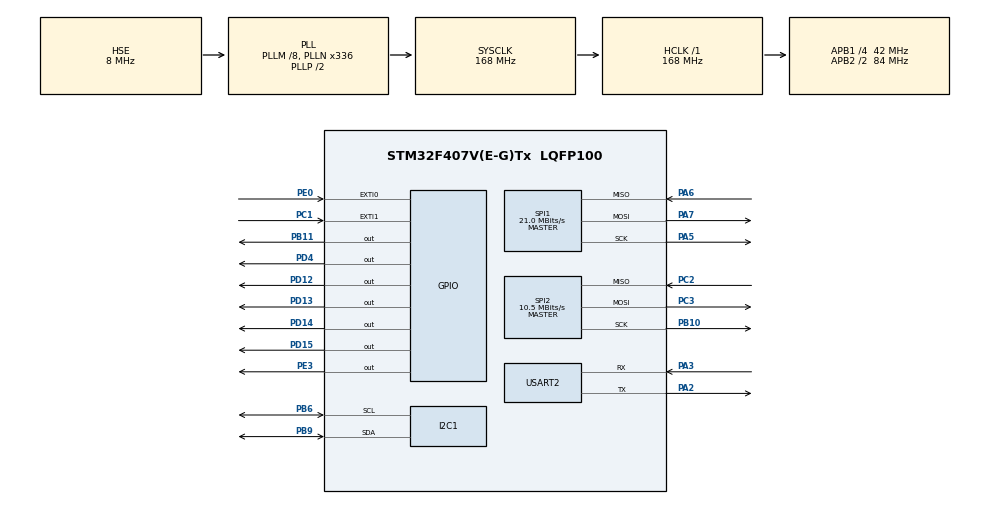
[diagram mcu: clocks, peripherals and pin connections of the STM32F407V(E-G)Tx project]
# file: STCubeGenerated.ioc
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Mcu.Family=STM32F4
Mcu.Name=STM32F407V(E-G)Tx
Mcu.Package=LQFP100
NVIC.EXTI0_IRQn=true\:0\:0\:false\:false\:true\:true
NVIC.EXTI1_IRQn=true\:0\:0\:false\:false\:true\:true
NVIC.PriorityGroup=NVIC_PRIORITYGROUP_4
PA2.Mode=Asynchronous
PA2.Signal=USART2_TX
PA3.Mode=Asynchronous
PA3.Signal=USART2_RX
PA5.Mode=Full_Duplex_Master
PA5.Signal=SPI1_SCK
PA6.Mode=Full_Duplex_Master
PA6.Signal=SPI1_MISO
PA7.Mode=Full_Duplex_Master
PA7.Signal=SPI1_MOSI
PB10.Mode=Full_Duplex_Master
PB10.Signal=SPI2_SCK
PB11.Signal=GPIO_Output
PB6.Mode=I2C
PB6.Signal=I2C1_SCL
PB9.Mode=I2C
PB9.Signal=I2C1_SDA
PC1.GPIO_ModeDefaultEXTI=GPIO_MODE_IT_RISING
PC1.GPIO_PuPd=GPIO_NOPULL
PC1.Signal=GPXTI1
PC2.Mode=Full_Duplex_Master
PC2.Signal=SPI2_MISO
PC3.Mode=Full_Duplex_Master
PC3.Signal=SPI2_MOSI
PD12.Signal=GPIO_Output
PD13.Signal=GPIO_Output
PD14.Signal=GPIO_Output
PD15.Signal=GPIO_Output
PD4.Signal=GPIO_Output
PE0.GPIO_ModeDefaultEXTI=GPIO_MODE_IT_FALLING
PE0.GPIO_PuPd=GPIO_PULLUP
PE0.Signal=GPXTI0
PE3.Signal=GPIO_Output
PH0-OSC_IN.Mode=HSE-External-Oscillator
PH0-OSC_IN.Signal=RCC_OSC_IN
PH1-OSC_OUT.Mode=HSE-External-Oscillator
PH1-OSC_OUT.Signal=RCC_OSC_OUT
ProjectManager.HeapSize=0x4000
ProjectManager.StackSize=0x1000
ProjectManager.TargetToolchain=MDK-ARM V5
RCC.48MHZClocksFreq_Value=48000000
RCC.AHBFreq_Value=168000000
RCC.APB1CLKDivider=RCC_HCLK_DIV4
RCC.APB1Freq_Value=42000000
RCC.APB1TimFreq_Value=84000000
RCC.APB2CLKDivider=RCC_HCLK_DIV2
RCC.APB2Freq_Value=84000000
RCC.APB2TimFreq_Value=168000000
RCC.CortexFreq_Value=168000000
RCC.HCLKFreq_Value=168000000
RCC.HSE_VALUE=8000000
RCC.HSI_VALUE=16000000
RCC.LSE_VALUE=32768
RCC.PLLM=8
RCC.PLLN=336
RCC.PLLQ=7
RCC.PLLSourceVirtual=RCC_PLLSOURCE_HSE
RCC.SYSCLKFreq_VALUE=168000000
RCC.SYSCLKSource=RCC_SYSCLKSOURCE_PLLCLK
RCC.VCOOutputFreq_Value=336000000
SPI1.BaudRatePrescaler=SPI_BAUDRATEPRESCALER_4
SPI1.CalculateBaudRate=21.0 MBits/s
SPI1.DataSize=SPI_DATASIZE_8BIT
SPI1.Direction=SPI_DIRECTION_2LINES
SPI1.Mode=SPI_MODE_MASTER
SPI1.VirtualType=VM_MASTER
SPI2.BaudRatePrescaler=SPI_BAUDRATEPRESCALER_4
SPI2.CalculateBaudRate=10.5 MBits/s
SPI2.Direction=SPI_DIRECTION_2LINES
SPI2.FirstBit=SPI_FIRSTBIT_MSB
SPI2.Mode=SPI_MODE_MASTER
SPI2.VirtualType=VM_MASTER
USART2.VirtualMode=VM_ASYNC
board=STCubeGenerated

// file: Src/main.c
/**
  ******************************************************************************
  * File Name          : main.c
  * Description        : Main program body
  ******************************************************************************
  ** This notice applies to any and all portions of this file
  * that are not between comment pairs USER CODE BEGIN and
  * USER CODE END. Other portions of this file, whether
  * inserted by the user or by software development tools
  * are owned by their respective copyright owners.
  *
  * COPYRIGHT(c) 2019 STMicroelectronics
  *
  * Redistribution and use in source and binary forms, with or without modification,
  * are permitted provided that the following conditions are met:
  *   1. Redistributions of source code must retain the above copyright notice,
  *      this list of conditions and the following disclaimer.
  *   2. Redistributions in binary form must reproduce the above copyright notice,
  *      this list of conditions and the following disclaimer in the documentation
  *      and/or other materials provided with the distribution.
  *   3. Neither the name of STMicroelectronics nor the names of its contributors
  *      may be used to endorse or promote products derived from this software
  *      without specific prior written permission.
  *
  * THIS SOFTWARE IS PROVIDED BY THE COPYRIGHT HOLDERS AND CONTRIBUTORS "AS IS"
  * AND ANY EXPRESS OR IMPLIED WARRANTIES, INCLUDING, BUT NOT LIMITED TO, THE
  * IMPLIED WARRANTIES OF MERCHANTABILITY AND FITNESS FOR A PARTICULAR PURPOSE ARE
  * DISCLAIMED. IN NO EVENT SHALL THE COPYRIGHT HOLDER OR CONTRIBUTORS BE LIABLE
  * FOR ANY DIRECT, INDIRECT, INCIDENTAL, SPECIAL, EXEMPLARY, OR CONSEQUENTIAL
  * DAMAGES (INCLUDING, BUT NOT LIMITED TO, PROCUREMENT OF SUBSTITUTE GOODS OR
  * SERVICES; LOSS OF USE, DATA, OR PROFITS; OR BUSINESS INTERRUPTION) HOWEVER
  * CAUSED AND ON ANY THEORY OF LIABILITY, WHETHER IN CONTRACT, STRICT LIABILITY,
  * OR TORT (INCLUDING NEGLIGENCE OR OTHERWISE) ARISING IN ANY WAY OUT OF THE USE
  * OF THIS SOFTWARE, EVEN IF ADVISED OF THE POSSIBILITY OF SUCH DAMAGE.
  *
  ******************************************************************************
  */

#include "main.h"
#include "stm32f4xx_hal.h"

/* USER CODE BEGIN Includes */
#include "cmsis_os.h"
/* USER CODE END Includes */

I2C_HandleTypeDef hi2c1;

SPI_HandleTypeDef hspi1;
SPI_HandleTypeDef hspi2;

UART_HandleTypeDef huart2;

/* USER CODE BEGIN PV */
//#define _DISABLE_PRINTF_
/* Private variables ---------------------------------------------------------*/
#ifndef _DISABLE_PRINTF_
	#ifdef __GNUC__
	  /* With GCC/RAISONANCE, small printf (option LD Linker->Libraries->Small printf
		 set to 'Yes') calls __io_putchar() */
	  #define PUTCHAR_PROTOTYPE int __io_putchar(int ch)
	#else
	  #define PUTCHAR_PROTOTYPE int fputc(int ch, FILE *f)
	#endif /* __GNUC__ */
#else
  #define PUTCHAR_PROTOTYPE int _blank(int ch)
#endif /* _DISABLE_PRINTF_ */
/* USER CODE END PV */

void SystemClock_Config(void);
static void MX_GPIO_Init(void);
static void MX_SPI1_Init(void);
static void MX_I2C1_Init(void);
static void MX_USART2_UART_Init(void);
static void MX_SPI2_Init(void);

/* USER CODE BEGIN 0 */
extern uint32_t os_time;
uint32_t HAL_GetTick(void) {           // Add HAL_GetTick function for STM32Cube HAL
  return os_time;
}

uint8_t	error_flag;

extern void Thread_LIS3DH (void const *arg);
osThreadDef (Thread_LIS3DH, osPriorityNormal, 1, 0);

extern void Thread_ICM40606 (void const *arg);
osThreadDef (Thread_ICM40606, osPriorityNormal, 1, 0);

osThreadId tid1;
osThreadId tid2;
osMessageQDef(MsgBox, 16, uint32_t);
osMessageQId  MsgBox;

//#define PRINT_DATA_RATE
extern uint32_t GetDataCountAndReset(void);
osTimerId id1;
void Timer1_Callback(void const *arg)
{
	if(error_flag) return;
#ifdef PRINT_DATA_RATE
	uint32_t data_rate = GetDataCountAndReset();
	printf("Data rate: %d\n\r", data_rate);
#endif //PRINT_DATA_RATE
}
osTimerDef (Timer1, Timer1_Callback);

extern void SetFifoFlag(void);

 /**
  * @brief  Retargets the C library printf function to the USART.
  * @param  None
  * @retval None
  */
PUTCHAR_PROTOTYPE
{
  /* Place your implementation of fputc here */
  /* e.g. write a character to the EVAL_COM1 and Loop until the end of transmission */
  HAL_UART_Transmit(&huart2, (uint8_t *)&ch, 1, 0xFFFF);

  return ch;
}
/* USER CODE END 0 */

int main(void)
{

  /* USER CODE BEGIN 1 */
  osKernelInitialize ();
  /* USER CODE END 1 */

  /* MCU Configuration----------------------------------------------------------*/

  /* Reset of all peripherals, Initializes the Flash interface and the Systick. */
  HAL_Init();

  /* Configure the system clock */
  SystemClock_Config();

  /* Initialize all configured peripherals */
  MX_GPIO_Init();
  MX_SPI1_Init();
  MX_I2C1_Init();
  MX_USART2_UART_Init();
  MX_SPI2_Init();

  /* USER CODE BEGIN 2 */
  HAL_GPIO_WritePin(GPIOE, GPIO_PIN_3, GPIO_PIN_SET);

  MsgBox = osMessageCreate(osMessageQ(MsgBox), NULL);

  tid1 = osThreadCreate (osThread (Thread_LIS3DH), NULL);
  if (tid1 == NULL)
  {
    // Failed to create the thread with tid1
	_Error_Handler(__FILE__, __LINE__);
  }
//  tid2 = osThreadCreate (osThread (Thread_ICM40606), NULL);
//  if (tid2 == NULL)
//  {
//    // Failed to create the thread with tid2
//	_Error_Handler(__FILE__, __LINE__);
//  }
  id1 = osTimerCreate (osTimer(Timer1), osTimerPeriodic, NULL);
  if (id1 == NULL)
  {
    // Failed to create the Timer1
	_Error_Handler(__FILE__, __LINE__);
  }
  osTimerStart(id1, 1000UL);

  osKernelStart ();
  /* USER CODE END 2 */

  /* Infinite loop */
  while (1)
  {

  }

}

/** System Clock Configuration
*/
void SystemClock_Config(void)
{

  RCC_OscInitTypeDef RCC_OscInitStruct;
  RCC_ClkInitTypeDef RCC_ClkInitStruct;

    /**Configure the main internal regulator output voltage
    */
  __HAL_RCC_PWR_CLK_ENABLE();

  __HAL_PWR_VOLTAGESCALING_CONFIG(PWR_REGULATOR_VOLTAGE_SCALE1);

    /**Initializes the CPU, AHB and APB busses clocks
    */
  RCC_OscInitStruct.OscillatorType = RCC_OSCILLATORTYPE_HSE;
  RCC_OscInitStruct.HSEState = RCC_HSE_ON;
  RCC_OscInitStruct.PLL.PLLState = RCC_PLL_ON;
  RCC_OscInitStruct.PLL.PLLSource = RCC_PLLSOURCE_HSE;
  RCC_OscInitStruct.PLL.PLLM = 8;
  RCC_OscInitStruct.PLL.PLLN = 336;
  RCC_OscInitStruct.PLL.PLLP = RCC_PLLP_DIV2;
  RCC_OscInitStruct.PLL.PLLQ = 7;
  if (HAL_RCC_OscConfig(&RCC_OscInitStruct) != HAL_OK)
  {
    _Error_Handler(__FILE__, __LINE__);
  }

    /**Initializes the CPU, AHB and APB busses clocks
    */
  RCC_ClkInitStruct.ClockType = RCC_CLOCKTYPE_HCLK|RCC_CLOCKTYPE_SYSCLK
                              |RCC_CLOCKTYPE_PCLK1|RCC_CLOCKTYPE_PCLK2;
  RCC_ClkInitStruct.SYSCLKSource = RCC_SYSCLKSOURCE_PLLCLK;
  RCC_ClkInitStruct.AHBCLKDivider = RCC_SYSCLK_DIV1;
  RCC_ClkInitStruct.APB1CLKDivider = RCC_HCLK_DIV4;
  RCC_ClkInitStruct.APB2CLKDivider = RCC_HCLK_DIV2;

  if (HAL_RCC_ClockConfig(&RCC_ClkInitStruct, FLASH_LATENCY_5) != HAL_OK)
  {
    _Error_Handler(__FILE__, __LINE__);
  }

    /**Configure the Systick interrupt time
    */
  HAL_SYSTICK_Config(HAL_RCC_GetHCLKFreq()/1000);

    /**Configure the Systick
    */
  HAL_SYSTICK_CLKSourceConfig(SYSTICK_CLKSOURCE_HCLK);

  /* SysTick_IRQn interrupt configuration */
  HAL_NVIC_SetPriority(SysTick_IRQn, 0, 0);
}

/* I2C1 init function */
static void MX_I2C1_Init(void)
{

  hi2c1.Instance = I2C1;
  hi2c1.Init.ClockSpeed = 100000;
  hi2c1.Init.DutyCycle = I2C_DUTYCYCLE_2;
  hi2c1.Init.OwnAddress1 = 0;
  hi2c1.Init.AddressingMode = I2C_ADDRESSINGMODE_7BIT;
  hi2c1.Init.DualAddressMode = I2C_DUALADDRESS_DISABLE;
  hi2c1.Init.OwnAddress2 = 0;
  hi2c1.Init.GeneralCallMode = I2C_GENERALCALL_DISABLE;
  hi2c1.Init.NoStretchMode = I2C_NOSTRETCH_DISABLE;
  if (HAL_I2C_Init(&hi2c1) != HAL_OK)
  {
    _Error_Handler(__FILE__, __LINE__);
  }

}

/* SPI1 init function */
static void MX_SPI1_Init(void)
{

  /* SPI1 parameter configuration*/
  hspi1.Instance = SPI1;
  hspi1.Init.Mode = SPI_MODE_MASTER;
  hspi1.Init.Direction = SPI_DIRECTION_2LINES;
  hspi1.Init.DataSize = SPI_DATASIZE_8BIT;
  hspi1.Init.CLKPolarity = SPI_POLARITY_LOW;
  hspi1.Init.CLKPhase = SPI_PHASE_1EDGE;
  hspi1.Init.NSS = SPI_NSS_SOFT;
  hspi1.Init.BaudRatePrescaler = SPI_BAUDRATEPRESCALER_4;
  hspi1.Init.FirstBit = SPI_FIRSTBIT_MSB;
  hspi1.Init.TIMode = SPI_TIMODE_DISABLE;
  hspi1.Init.CRCCalculation = SPI_CRCCALCULATION_DISABLE;
  hspi1.Init.CRCPolynomial = 10;
  if (HAL_SPI_Init(&hspi1) != HAL_OK)
  {
    _Error_Handler(__FILE__, __LINE__);
  }

}

/* SPI2 init function */
static void MX_SPI2_Init(void)
{

  /* SPI2 parameter configuration*/
  hspi2.Instance = SPI2;
  hspi2.Init.Mode = SPI_MODE_MASTER;
  hspi2.Init.Direction = SPI_DIRECTION_2LINES;
  hspi2.Init.DataSize = SPI_DATASIZE_8BIT;
  hspi2.Init.CLKPolarity = SPI_POLARITY_LOW;
  hspi2.Init.CLKPhase = SPI_PHASE_1EDGE;
  hspi2.Init.NSS = SPI_NSS_SOFT;
  hspi2.Init.BaudRatePrescaler = SPI_BAUDRATEPRESCALER_4;
  hspi2.Init.FirstBit = SPI_FIRSTBIT_MSB;
  hspi2.Init.TIMode = SPI_TIMODE_DISABLE;
  hspi2.Init.CRCCalculation = SPI_CRCCALCULATION_DISABLE;
  hspi2.Init.CRCPolynomial = 10;
  if (HAL_SPI_Init(&hspi2) != HAL_OK)
  {
    _Error_Handler(__FILE__, __LINE__);
  }

}

/* USART2 init function */
static void MX_USART2_UART_Init(void)
{

  huart2.Instance = USART2;
  huart2.Init.BaudRate = 115200;
  huart2.Init.WordLength = UART_WORDLENGTH_8B;
  huart2.Init.StopBits = UART_STOPBITS_1;
  huart2.Init.Parity = UART_PARITY_NONE;
  huart2.Init.Mode = UART_MODE_TX_RX;
  huart2.Init.HwFlowCtl = UART_HWCONTROL_NONE;
  huart2.Init.OverSampling = UART_OVERSAMPLING_16;
  if (HAL_UART_Init(&huart2) != HAL_OK)
  {
    _Error_Handler(__FILE__, __LINE__);
  }

}

/** Configure pins as
        * Analog
        * Input
        * Output
        * EVENT_OUT
        * EXTI
*/
static void MX_GPIO_Init(void)
{

  GPIO_InitTypeDef GPIO_InitStruct;

  /* GPIO Ports Clock Enable */
  __HAL_RCC_GPIOE_CLK_ENABLE();
  __HAL_RCC_GPIOH_CLK_ENABLE();
  __HAL_RCC_GPIOC_CLK_ENABLE();
  __HAL_RCC_GPIOA_CLK_ENABLE();
  __HAL_RCC_GPIOB_CLK_ENABLE();
  __HAL_RCC_GPIOD_CLK_ENABLE();

  /*Configure GPIO pin Output Level */
  HAL_GPIO_WritePin(GPIOE, GPIO_PIN_3, GPIO_PIN_RESET);

  /*Configure GPIO pin Output Level */
  HAL_GPIO_WritePin(GPIOB, GPIO_PIN_11, GPIO_PIN_RESET);

  /*Configure GPIO pin Output Level */
  HAL_GPIO_WritePin(GPIOD, GPIO_PIN_12|GPIO_PIN_13|GPIO_PIN_14|GPIO_PIN_15
                          |GPIO_PIN_4, GPIO_PIN_RESET);

  /*Configure GPIO pin : PE3 */
  GPIO_InitStruct.Pin = GPIO_PIN_3;
  GPIO_InitStruct.Mode = GPIO_MODE_OUTPUT_PP;
  GPIO_InitStruct.Pull = GPIO_NOPULL;
  GPIO_InitStruct.Speed = GPIO_SPEED_FREQ_LOW;
  HAL_GPIO_Init(GPIOE, &GPIO_InitStruct);

  /*Configure GPIO pin : PC1 */
  GPIO_InitStruct.Pin = GPIO_PIN_1;
  GPIO_InitStruct.Mode = GPIO_MODE_IT_RISING;
  GPIO_InitStruct.Pull = GPIO_NOPULL;
  HAL_GPIO_Init(GPIOC, &GPIO_InitStruct);

  /*Configure GPIO pin : PB11 */
  GPIO_InitStruct.Pin = GPIO_PIN_11;
  GPIO_InitStruct.Mode = GPIO_MODE_OUTPUT_PP;
  GPIO_InitStruct.Pull = GPIO_NOPULL;
  GPIO_InitStruct.Speed = GPIO_SPEED_FREQ_LOW;
  HAL_GPIO_Init(GPIOB, &GPIO_InitStruct);

  /*Configure GPIO pins : PD12 PD13 PD14 PD15
                           PD4 */
  GPIO_InitStruct.Pin = GPIO_PIN_12|GPIO_PIN_13|GPIO_PIN_14|GPIO_PIN_15
                          |GPIO_PIN_4;
  GPIO_InitStruct.Mode = GPIO_MODE_OUTPUT_PP;
  GPIO_InitStruct.Pull = GPIO_NOPULL;
  GPIO_InitStruct.Speed = GPIO_SPEED_FREQ_LOW;
  HAL_GPIO_Init(GPIOD, &GPIO_InitStruct);

  /*Configure GPIO pin : PE0 */
  GPIO_InitStruct.Pin = GPIO_PIN_0;
  GPIO_InitStruct.Mode = GPIO_MODE_IT_FALLING;
  GPIO_InitStruct.Pull = GPIO_PULLUP;
  HAL_GPIO_Init(GPIOE, &GPIO_InitStruct);

  /* EXTI interrupt init*/
  HAL_NVIC_SetPriority(EXTI0_IRQn, 0, 0);
  HAL_NVIC_EnableIRQ(EXTI0_IRQn);

  HAL_NVIC_SetPriority(EXTI1_IRQn, 0, 0);
  HAL_NVIC_EnableIRQ(EXTI1_IRQn);

}

/* USER CODE BEGIN 4 */
void EXTI0_IRQHandler(void)
{
	/* Call handler for PE0 */
	if(HAL_GPIO_ReadPin(GPIOE, GPIO_PIN_0) == GPIO_PIN_RESET)
	{
		HAL_GPIO_EXTI_IRQHandler(GPIO_PIN_0);
		osSignalSet(tid1, LIS3DH_INT_SIGNAL);
	}
}

void EXTI1_IRQHandler(void)
{
	/* Call handler for PC1 */
	if(HAL_GPIO_ReadPin(GPIOC, GPIO_PIN_1) == GPIO_PIN_RESET)
	{
		HAL_GPIO_EXTI_IRQHandler(GPIO_PIN_1);
		osSignalSet(tid2, ICM40606_INT_SIGNAL);
	}
}

/* USER CODE END 4 */

void _Error_Handler(char * file, int line)
{
  /* USER CODE BEGIN Error_Handler_Debug */
  /* User can add his own implementation to report the HAL error return state */
	printf("Error on file: %s, line: %d\n\r", file, line);
	error_flag = 1;
	while(1)
	{
		HAL_GPIO_WritePin(GPIOD, GPIO_PIN_14, GPIO_PIN_SET);
		osDelay(100);
		HAL_GPIO_WritePin(GPIOD, GPIO_PIN_14, GPIO_PIN_RESET);
		osDelay(100);
	}
  /* USER CODE END Error_Handler_Debug */
}

/************************ (C) COPYRIGHT STMicroelectronics *****END OF FILE****/
